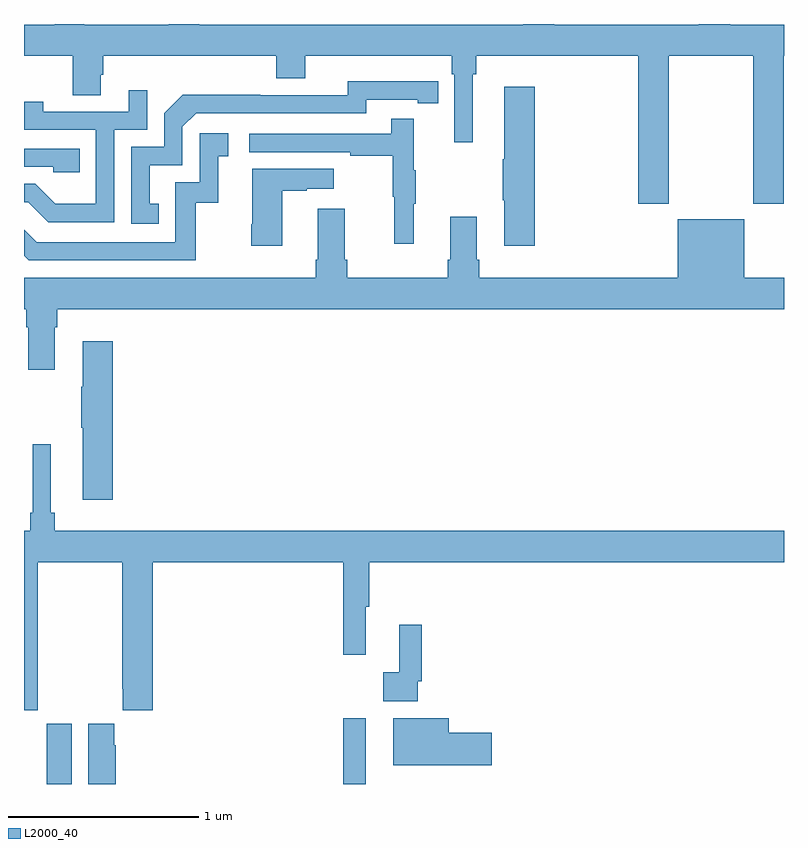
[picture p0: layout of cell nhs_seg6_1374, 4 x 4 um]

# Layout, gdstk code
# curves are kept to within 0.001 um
import gdstk
lib = gdstk.Library(unit=1e-6, precision=1e-09)
def R(c, l, rs):  # rectangles x0, y0, x1, y1
    for r in rs: c.add(gdstk.rectangle(r[:2], r[2:], *l))
def P(c, l, *ps):  # polygons
    for p in ps: c.add(gdstk.Polygon(p, *l))
L2000_40 = (2000, 40)

nhs_seg6_1374 = lib.new_cell('nhs_seg6_1374')
R(nhs_seg6_1374, L2000_40, [(195.119,947.5,195.25,947.818), (196.681,947.5,196.798,947.845)])
P(nhs_seg6_1374, L2000_40, [(198.233,950.553),(198.393,950.553),(198.393,951.332),(198.838,951.332),(198.838,950.553),(198.998,950.553),(198.998,951.332),(199,951.332),(199,951.496),(198.716,951.496),(198.716,951.5),(198.551,951.5),(198.551,951.496),(197.792,951.496),(197.792,951.5),(197.627,951.5),(197.627,951.496),(195.923,951.496),(195.923,951.5),(195.763,951.5),(195.763,951.496),(195.318,951.496),(195.318,951.5),(195.163,951.5),(195.163,951.496),(195,951.496),(195,951.332),(195.256,951.332),(195.256,951.124),(195.403,951.124),(195.403,951.234),(195.416,951.234),(195.416,951.332),(196.328,951.332),(196.328,951.215),(196.48,951.215),(196.48,951.332),(197.252,951.332),(197.252,951.236),(197.265,951.236),(197.265,950.877),(197.362,950.877),(197.362,951.236),(197.381,951.236),(197.381,951.332),(198.233,951.332)],
  [(195.71,950.553),(195.661,950.553),(195.661,950.757),(195.834,950.757),(195.834,950.958),(195.906,951.03),(196.8,951.03),(196.8,951.102),(197.072,951.102),(197.072,951.082),(197.18,951.082),(197.18,951.198),(196.704,951.199),(196.704,951.126),(196.244,951.126),(196.244,951.128),(195.836,951.128),(195.738,951.03),(195.738,950.853),(195.564,950.853),(195.564,950.448),(195.71,950.448)],
  [(197.687,951.169),(197.528,951.169),(197.528,950.789),(197.521,950.789),(197.521,950.572),(197.528,950.572),(197.528,950.334),(197.687,950.334)],
  [(195.474,950.943),(195.648,950.943),(195.648,951.151),(195.551,951.151),(195.551,951.039),(195.1,951.039),(195.1,951.091),(195,951.091),(195,950.943),(195.378,950.943),(195.378,950.554),(195.164,950.554),(195.06,950.658),(195,950.658),(195,950.562),(195.023,950.562),(195.128,950.457),(195.474,950.457)],
  [(197.051,950.555),(197.062,950.555),(197.062,950.729),(197.051,950.729),(197.051,951.001),(196.933,951.001),(196.933,950.922),(196.185,950.922),(196.185,950.826),(196.717,950.826),(196.717,950.806),(196.941,950.806),(196.941,950.592),(196.948,950.592),(196.948,950.343),(197.051,950.343)],
  [(195.904,950.559),(196.022,950.559),(196.022,950.805),(196.075,950.805),(196.075,950.926),(195.924,950.926),(195.924,950.667),(195.795,950.667),(195.795,950.352),(195.066,950.352),(195,950.418),(195,950.28),(195.024,950.256),(195.904,950.256)],
  [(195.293,950.844),(195,950.844),(195,950.748),(195.153,950.748),(195.153,950.721),(195.293,950.721)],
  [(196.36,950.623),(196.487,950.623),(196.487,950.633),(196.63,950.633),(196.63,950.737),(196.202,950.737),(196.202,950.446),(196.195,950.446),(196.195,950.334),(196.36,950.334)],
  [(195.163,949.904),(195.176,949.904),(195.176,950),(199,950),(199,950.164),(198.79,950.164),(198.79,950.473),(198.44,950.473),(198.44,950.164),(197.396,950.164),(197.396,950.26),(197.383,950.26),(197.383,950.485),(197.243,950.485),(197.243,950.26),(197.231,950.26),(197.231,950.164),(196.7,950.164),(196.7,950.26),(196.687,950.26),(196.687,950.527),(196.547,950.527),(196.547,950.26),(196.535,950.26),(196.535,950.164),(195,950.164),(195,950),(195.011,950),(195.011,949.904),(195.023,949.904),(195.023,949.68),(195.163,949.68)],
  [(195.467,949.831),(195.308,949.831),(195.308,949.592),(195.301,949.592),(195.301,949.375),(195.308,949.375),(195.308,948.996),(195.467,948.996)],
  [(195.072,948.668),(195.517,948.668),(195.517,948.001),(195.521,948.001),(195.521,947.889),(195.677,947.889),(195.677,948.668),(196.681,948.668),(196.681,948.18),(196.799,948.18),(196.799,948.432),(196.817,948.432),(196.817,948.668),(199,948.668),(199,948.832),(195.161,948.832),(195.161,948.928),(195.142,948.928),(195.142,949.288),(195.045,949.288),(195.045,948.928),(195.032,948.928),(195.032,948.832),(195,948.832),(195,947.889),(195.072,947.889)],
  [(197.073,948.04),(197.093,948.04),(197.093,948.337),(196.976,948.337),(196.976,948.089),(196.89,948.089),(196.89,947.936),(197.073,947.936)],
  [(197.461,947.771),(197.236,947.771),(197.236,947.845),(196.943,947.845),(196.943,947.6),(197.461,947.6)],
  [(195.482,947.705),(195.475,947.705),(195.475,947.818),(195.338,947.818),(195.338,947.5),(195.482,947.5)])

lib.write_gds('nhs_seg6_1374.gds')
